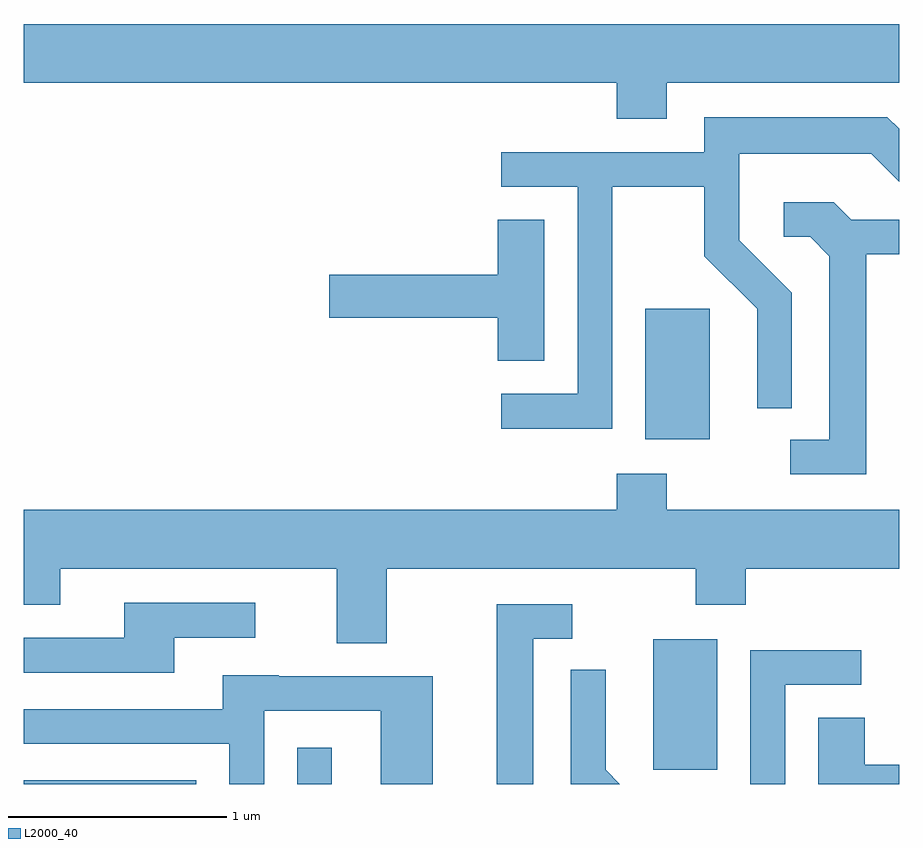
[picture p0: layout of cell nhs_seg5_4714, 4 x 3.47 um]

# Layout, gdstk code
import gdstk
lib = gdstk.Library(unit=1e-6, precision=1e-09)
def R(c, l, rs):  # rectangles x0, y0, x1, y1
    for r in rs: c.add(gdstk.rectangle(r[:2], r[2:], *l))
def P(c, l, *ps):  # polygons
    for p in ps: c.add(gdstk.Polygon(p, *l))
L2000_40 = (2000, 40)

nhs_seg5_4714 = lib.new_cell('nhs_seg5_4714')
R(nhs_seg5_4714, L2000_40, [(325.611,1418.072,326.399,1418.089), (326.861,1418.072,327.019,1418.238), (328.486,1418.136,328.779,1418.734), (328.451,1419.646,328.744,1420.244)])
P(nhs_seg5_4714, L2000_40, [(328.549,1421.276),(329.611,1421.276),(329.611,1421.544),(325.611,1421.544),(325.611,1421.276),(328.321,1421.276),(328.321,1421.111),(328.549,1421.111)],
  [(328.299,1420.801),(328.721,1420.801),(328.721,1420.484),(328.961,1420.244),(328.961,1419.788),(329.119,1419.788),(329.119,1420.317),(328.879,1420.557),(328.879,1420.951),(329.484,1420.951),(329.611,1420.824),(329.611,1421.065),(329.557,1421.119),(328.721,1421.119),(328.721,1420.959),(327.793,1420.959),(327.793,1420.801),(328.141,1420.801),(328.141,1419.854),(327.793,1419.854),(327.793,1419.696),(328.299,1419.696)],
  [(329.459,1420.491),(329.611,1420.491),(329.611,1420.649),(329.392,1420.649),(329.312,1420.729),(329.083,1420.729),(329.083,1420.571),(329.204,1420.571),(329.291,1420.484),(329.291,1419.644),(329.113,1419.644),(329.113,1419.486),(329.459,1419.486)],
  [(327.989,1420.649),(327.776,1420.649),(327.776,1420.399),(327.006,1420.399),(327.006,1420.201),(327.776,1420.201),(327.776,1420.006),(327.989,1420.006)],
  [(327.269,1419.056),(328.681,1419.056),(328.681,1418.891),(328.909,1418.891),(328.909,1419.056),(329.611,1419.056),(329.611,1419.324),(328.549,1419.324),(328.549,1419.489),(328.321,1419.489),(328.321,1419.324),(325.611,1419.324),(325.611,1418.891),(325.779,1418.891),(325.779,1419.056),(327.041,1419.056),(327.041,1418.716),(327.269,1418.716)],
  [(326.299,1418.741),(326.668,1418.741),(326.668,1418.899),(326.071,1418.899),(326.071,1418.739),(325.611,1418.739),(325.611,1418.581),(326.299,1418.581)],
  [(327.939,1418.736),(328.118,1418.736),(328.118,1418.894),(327.771,1418.894),(327.771,1418.072),(327.939,1418.072)],
  [(329.089,1418.526),(329.438,1418.526),(329.438,1418.684),(328.931,1418.684),(328.931,1418.072),(329.089,1418.072)],
  [(328.269,1418.137),(328.269,1418.593),(328.111,1418.593),(328.111,1418.072),(328.334,1418.072)],
  [(326.709,1418.406),(327.241,1418.406),(327.241,1418.072),(327.479,1418.072),(327.479,1418.564),(326.775,1418.564),(326.775,1418.569),(326.521,1418.569),(326.521,1418.414),(325.611,1418.414),(325.611,1418.256),(326.551,1418.256),(326.551,1418.072),(326.709,1418.072)],
  [(329.611,1418.159),(329.454,1418.159),(329.454,1418.374),(329.241,1418.374),(329.241,1418.072),(329.611,1418.072)])

lib.write_gds('nhs_seg5_4714.gds')
